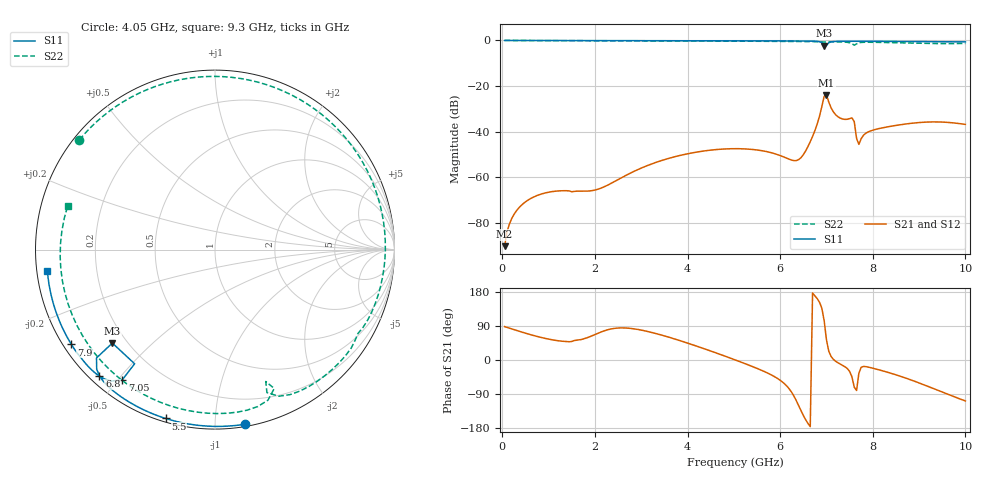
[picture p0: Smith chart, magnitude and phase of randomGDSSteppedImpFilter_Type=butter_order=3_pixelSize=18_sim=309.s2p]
! freq	dB(S11)	phase(S11)	dB(S12)	phase(S12)
!  dB(S21)	phase(S21)	dB(S22)	phase(S22)
!S-par simulation data
#  GHz  S  DB  R 50
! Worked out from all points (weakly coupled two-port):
!   200 points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, 50 MHz to 10 GHz, reference 50 ohm
!   highest |S21| = -23.97 dB at 7 GHz (marker M1); lowest = -90.2 dB at 50 MHz (marker M2)
!   lowest |S11| = -2.2 dB at 6.95 GHz (marker M3), VSWR 7.83, Z = 7.33 - j19 ohm
!   |S11| at or under -10 dB: nowhere
!   |S22| runs from -2.1 to 0.0 dB; largest |S21 - S12| = 0
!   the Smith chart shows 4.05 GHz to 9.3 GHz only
!   S11 on the Smith chart (normalised r, x): 4.05 GHz: 0.02, -1.19; 5.5 GHz: 0.02, -0.75; 6.8 GHz: 0.03, -0.44; 7.05 GHz: 0.07, -0.51; 7.9 GHz: 0.02, -0.30; 9.3 GHz: 0.03, -0.06
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0.05  -0.00 -1.1  -90.23 88.1  -90.23 88.1  -0.00 -3.0
0.75  -0.02 -15.5  -68.02 62.2  -68.02 62.2  -0.06 -43.7
1.75  -0.05 -35.9  -66.13 55.5  -66.13 55.5  -0.12 -99.0
2.65  -0.07 -53.7  -59.39 84.6  -59.39 84.6  -0.16 -145.9
3.4  -0.09 -68.0  -52.93 67.1  -52.93 67.1  -0.21 175.6
4.05  -0.11 -80.1  -49.51 42.7  -49.51 42.7  -0.25 141.0
5.05  -0.15 -98.2  -47.47 -0.7  -47.47 -0.7  -0.32 84.4
5.5  -0.18 -106.3  -48.04 -22.1  -48.04 -22.1  -0.35 57.6
6.35  -0.24 -121.7  -52.68 -107.7  -52.68 -107.7  -0.44 5.9
6.7  -0.31 -129.3  -42.13 176.7  -42.13 176.7  -0.50 -15.4
6.8  -0.41 -132.5  -36.64 161.9  -36.64 161.9  -0.54 -21.6
6.95  -2.23 -137.7  -24.50 104.1  -24.50 104.1  -0.69 -30.4
7  -2.18 -125.1  -23.97 53.1  -23.97 53.1  -0.64 -32.7
7.05  -1.00 -125.4  -27.00 23.0  -27.00 23.0  -0.57 -36.0
7.25  -0.38 -133.3  -33.50 -7.4  -33.50 -7.4  -0.61 -48.9
7.55  -0.36 -139.9  -33.98 -44.4  -33.98 -44.4  -1.44 -70.0
7.7  -0.35 -142.8  -45.57 -34.9  -45.57 -34.9  -1.02 -70.6
7.9  -0.37 -146.6  -40.12 -18.6  -40.12 -18.6  -0.78 -85.8
8.35  -0.41 -154.9  -37.78 -33.4  -37.78 -33.4  -0.92 -116.9
8.9  -0.47 -165.2  -36.19 -56.0  -36.19 -56.0  -1.18 -159.6
9.3  -0.53 -172.8  -35.73 -74.9  -35.73 -74.9  -1.35 163.4
10  -0.63 173.0  -36.83 -108.0  -36.83 -108.0  -1.30 88.3
